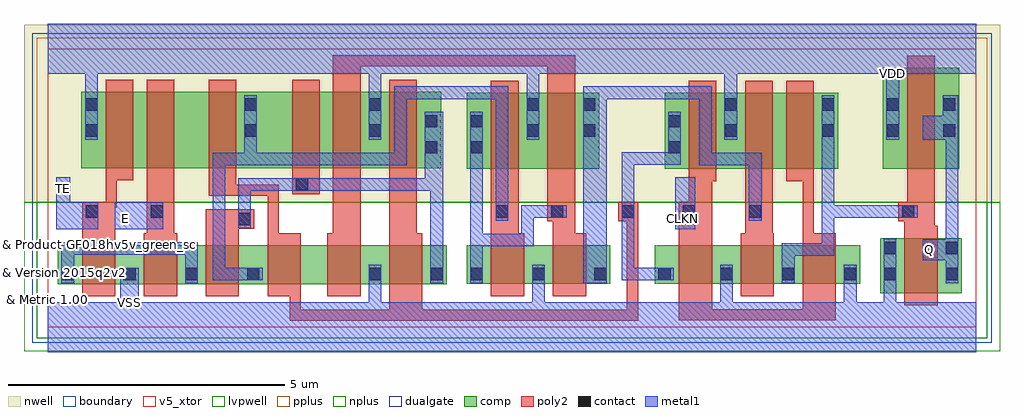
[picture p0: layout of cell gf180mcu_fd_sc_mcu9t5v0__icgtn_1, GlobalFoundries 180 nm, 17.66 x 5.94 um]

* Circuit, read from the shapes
.subckt gf180mcu_fd_sc_mcu9t5v0__icgtn_1 CLKN E Q TE VDD VSS
XM1 VSS TE n1 VSUBS nfet_05v0 w=0.7u l=0.6u
XM2 n1 E VSS VSUBS nfet_05v0 w=0.7u l=0.6u
XM3 n2 n3 n1 VSUBS nfet_05v0 w=0.7u l=0.6u
XM4 n4 n5 n2 VSUBS nfet_05v0 w=0.7u l=0.6u
XM5 VSS n6 n4 VSUBS nfet_05v0 w=0.7u l=0.6u
XM6 n3 n5 VSS VSUBS nfet_05v0 w=0.7u l=0.6u
XM7 VSS n2 n6 VSUBS nfet_05v0 w=0.7u l=0.6u
XM8 n7 n6 VSS VSUBS nfet_05v0 w=0.7u l=0.6u
XM9 VSS CLKN n5 VSUBS nfet_05v0 w=0.7u l=0.6u
XM10 n8 n7 VSS VSUBS nfet_05v0 w=0.7u l=0.6u
XM11 VSS CLKN n8 VSUBS nfet_05v0 w=0.7u l=0.6u
XM12 Q n8 VSS VSUBS nfet_05v0 w=1u l=0.6u
XM13 n9 TE VDD n10 pfet_05v0 w=1.38u l=0.5u
XM14 n11 E n9 n10 pfet_05v0 w=1.38u l=0.5u
XM15 n2 n5 n11 n10 pfet_05v0 w=1.38u l=0.5u
XM16 n12 n3 n2 n10 pfet_05v0 w=1.38u l=0.5u
XM17 VDD n6 n12 n10 pfet_05v0 w=1.38u l=0.5u
XM18 n3 n5 VDD n10 pfet_05v0 w=1.38u l=0.5u
XM19 VDD n2 n6 n10 pfet_05v0 w=1.38u l=0.5u
XM20 n7 n6 VDD n10 pfet_05v0 w=1.38u l=0.5u
XM21 VDD CLKN n5 n10 pfet_05v0 w=1.38u l=0.5u
XM22 n13 n7 VDD n10 pfet_05v0 w=1.38u l=0.5u
XM23 n8 CLKN n13 n10 pfet_05v0 w=1.38u l=0.5u
XM24 Q n8 VDD n10 pfet_05v0 w=1.83u l=0.5u
.ends

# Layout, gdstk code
import gdstk
lib = gdstk.Library(unit=1e-6, precision=1e-09)
def R(c, l, rs):  # rectangles x0, y0, x1, y1
    for r in rs: c.add(gdstk.rectangle(r[:2], r[2:], *l))
def A(c, l, x, y, w, h, nx, ny, dx, dy):  # array of equal rectangles
    R(c, l, [(x+i*dx, y+j*dy, x+i*dx+w, y+j*dy+h) for i in range(nx) for j in range(ny)])
def P(c, l, *ps):  # polygons
    for p in ps: c.add(gdstk.Polygon(p, *l))
boundary = (0, 0)
nwell = (21, 0)
comp = (22, 0)
poly2 = (30, 0)
pplus = (31, 0)
nplus = (32, 0)
contact = (33, 0)
metal1 = (34, 0)
dualgate = (55, 0)
v5_xtor = (112, 1)
lvpwell = (204, 0)

gf180mcu_fd_sc_mcu9t5v0_ = lib.new_cell('gf180mcu_fd_sc_mcu9t5v0__icgtn_1')
R(gf180mcu_fd_sc_mcu9t5v0_, boundary, [(0,0,16.8,5.04)])
R(gf180mcu_fd_sc_mcu9t5v0_, nwell, [(-0.43,2.265,17.23,5.47)])
R(gf180mcu_fd_sc_mcu9t5v0_, comp, [(15.06,0.615,16.54,1.615), (0.18,0.78,7.22,1.48), (7.58,0.785,10.18,1.485), (10.98,0.785,14.7,1.485), (7.58,2.865,9.98,4.245), (11.16,2.865,14.3,4.245), (15.11,2.865,16.49,4.695), (0.61,2.88,7.12,4.26)])
R(gf180mcu_fd_sc_mcu9t5v0_, poly2, [(4.42,2.405,4.92,4.48)])
P(gf180mcu_fd_sc_mcu9t5v0_, poly2, [(0.62,0.56),(0.62,2.275),(1.05,2.275),(1.05,4.48),(1.55,4.48),(1.55,2.66),(1.25,2.66),(1.25,2.165),(1.22,2.165),(1.22,0.56)],
  [(1.74,0.56),(1.74,1.7),(1.79,1.7),(1.79,4.48),(2.29,4.48),(2.29,1.7),(2.34,1.7),(2.34,0.56)],
  [(2.86,0.56),(2.86,2.14),(3.74,2.14),(3.74,1.78),(3.46,1.78),(3.46,0.56)],
  [(8.02,0.565),(8.02,4.465),(8.52,4.465),(8.52,1.705),(8.62,1.705),(8.62,0.565)],
  [(5.06,0.56),(5.06,1.7),(5.16,1.7),(5.16,4.92),(9.54,4.92),(9.54,1.705),(9.74,1.705),(9.74,0.565),(9.14,0.565),(9.14,1.915),(9.04,1.915),(9.04,4.72),(5.66,4.72),(5.66,0.56)],
  [(4.38,0.12),(4.38,0.56),(3.98,0.56),(3.98,2.38),(2.91,2.38),(2.91,4.48),(3.41,4.48),(3.41,2.58),(4.18,2.58),(4.18,1.7),(4.58,1.7),(4.58,0.32),(6.18,0.32),(6.18,4.48),(6.68,4.48),(6.68,1.7),(6.78,1.7),(6.78,0.32),(10.48,0.32),(10.48,1.915),(10.32,1.915),(10.32,2.275),(10.68,2.275),(10.68,0.12)],
  [(12.54,0.565),(12.54,1.705),(12.62,1.705),(12.62,4.465),(13.12,4.465),(13.12,1.705),(13.14,1.705),(13.14,0.565)],
  [(11.42,0.125),(11.42,2.275),(11.6,2.275),(11.6,4.465),(12.1,4.465),(12.1,2.645),(12.02,2.645),(12.02,0.325),(13.66,0.325),(13.66,2.645),(13.36,2.645),(13.36,4.465),(13.86,4.465),(13.86,1.705),(14.26,1.705),(14.26,0.125)],
  [(15.5,0.395),(15.5,1.915),(15.39,1.915),(15.39,2.275),(15.55,2.275),(15.55,4.915),(16.05,4.915),(16.05,1.835),(16.1,1.835),(16.1,0.395)])
R(gf180mcu_fd_sc_mcu9t5v0_, pplus, [(-0.2,2.265,17,5.24)])
R(gf180mcu_fd_sc_mcu9t5v0_, nplus, [(-0.2,-0.2,17,2.265)])
A(gf180mcu_fd_sc_mcu9t5v0_, contact, 0.25, 0.855, 0.22, 0.22, 4, 1, 1.12, 0)
A(gf180mcu_fd_sc_mcu9t5v0_, contact, 7.65, 0.855, 0.22, 0.22, 3, 1, 1.12, 0)
A(gf180mcu_fd_sc_mcu9t5v0_, contact, 11.05, 0.855, 0.22, 0.22, 4, 1, 1.12, 0)
R(gf180mcu_fd_sc_mcu9t5v0_, contact, [(5.81,0.855,6.03,1.075), (6.93,0.855,7.15,1.075), (15.13,0.855,15.35,1.075), (16.25,0.855,16.47,1.075), (15.13,1.325,15.35,1.545), (16.25,1.325,16.47,1.545), (3.45,1.85,3.67,2.07), (0.69,1.985,0.91,2.205), (1.86,1.985,2.08,2.205), (8.11,1.985,8.33,2.205), (9.11,1.985,9.33,2.205), (10.39,1.985,10.61,2.205), (11.49,1.985,11.71,2.205), (12.69,1.985,12.91,2.205), (15.46,1.985,15.68,2.205), (4.49,2.475,4.71,2.695), (6.83,3.15,7.05,3.37), (7.65,3.15,7.87,3.37), (11.23,3.15,11.45,3.37), (0.68,3.45,0.9,3.67), (3.56,3.45,3.78,3.67), (5.81,3.45,6.03,3.67), (8.67,3.45,8.89,3.67), (9.69,3.45,9.91,3.67), (12.25,3.45,12.47,3.67), (14.01,3.45,14.23,3.67), (15.18,3.45,15.4,3.67), (16.2,3.45,16.42,3.67), (6.83,3.62,7.05,3.84), (7.65,3.62,7.87,3.84), (11.23,3.62,11.45,3.84), (0.68,3.92,0.9,4.14), (3.56,3.92,3.78,4.14), (5.81,3.92,6.03,4.14), (8.67,3.92,8.89,4.14), (9.69,3.92,9.91,4.14), (12.25,3.92,12.47,4.14), (14.01,3.92,14.23,4.14), (15.18,3.92,15.4,4.14), (16.2,3.92,16.42,4.14)])
R(gf180mcu_fd_sc_mcu9t5v0_, metal1, [(1.21,1.77,2.09,2.265), (11.35,1.77,11.715,2.71)])
P(gf180mcu_fd_sc_mcu9t5v0_, metal1, [(0.15,1.77),(0.15,2.71),(0.41,2.71),(0.41,2.265),(0.915,2.265),(0.915,1.77)],
  [(0.245,0.795),(0.245,1.54),(2.715,1.54),(2.715,0.795),(2.485,0.795),(2.485,1.31),(0.475,1.31),(0.475,0.795)],
  [(6.925,0.795),(6.925,2.47),(3.675,2.47),(3.675,1.79),(3.445,1.79),(3.445,2.7),(6.825,2.7),(6.825,3.9),(7.155,3.9),(7.155,0.795)],
  [(2.985,0.85),(2.985,3.16),(3.555,3.16),(3.555,4.2),(3.785,4.2),(3.785,3.16),(6.265,3.16),(6.265,4.36),(8.335,4.36),(8.335,1.925),(8.105,1.925),(8.105,4.13),(6.495,4.13),(6.495,2.93),(3.215,2.93),(3.215,1.08),(3.89,1.08),(3.89,0.85)],
  [(7.645,0.795),(7.645,3.9),(7.875,3.9),(7.875,1.695),(8.565,1.695),(8.565,2.21),(9.39,2.21),(9.39,1.98),(8.795,1.98),(8.795,1.465),(7.875,1.465),(7.875,0.795)],
  [(10.385,0.85),(10.385,3.17),(11.225,3.17),(11.225,3.9),(11.455,3.9),(11.455,2.94),(10.615,2.94),(10.615,1.08),(11.33,1.08),(11.33,0.85)],
  [(9.685,0.795),(9.685,4.36),(12.015,4.36),(12.015,3.16),(12.915,3.16),(12.915,1.925),(12.685,1.925),(12.685,2.93),(11.785,2.93),(11.785,4.13),(10.115,4.13),(10.115,0.795)],
  [(13.285,0.795),(13.285,1.52),(14.005,1.52),(14.005,4.2),(14.235,4.2),(14.235,2.21),(15.74,2.21),(15.74,1.98),(14.235,1.98),(14.235,1.29),(13.515,1.29),(13.515,0.795)],
  [(16.245,0.795),(16.245,1.21),(15.83,1.21),(15.83,1.59),(16.245,1.59),(16.245,3.39),(15.83,3.39),(15.83,3.83),(16.195,3.83),(16.195,4.2),(16.475,4.2),(16.475,0.795)],
  [(0,-0.45),(0,0.45),(1.31,0.45),(1.31,1.08),(1.65,1.08),(1.65,0.45),(5.805,0.45),(5.805,1.135),(6.035,1.135),(6.035,0.45),(8.765,0.45),(8.765,1.135),(8.995,1.135),(8.995,0.45),(12.165,0.45),(12.165,1.135),(12.395,1.135),(12.395,0.45),(14.405,0.45),(14.405,1.135),(14.635,1.135),(14.635,0.45),(15.125,0.45),(15.125,1.605),(15.355,1.605),(15.355,0.45),(16.8,0.45),(16.8,-0.45)],
  [(0.675,3.39),(0.675,4.59),(0,4.59),(0,5.49),(16.8,5.49),(16.8,4.59),(15.405,4.59),(15.405,3.39),(15.175,3.39),(15.175,4.59),(12.475,4.59),(12.475,3.39),(12.245,3.39),(12.245,4.59),(8.895,4.59),(8.895,3.39),(8.665,3.39),(8.665,4.59),(6.035,4.59),(6.035,3.39),(5.805,3.39),(5.805,4.59),(0.905,4.59),(0.905,3.39)])
R(gf180mcu_fd_sc_mcu9t5v0_, dualgate, [(-0.28,-0.28,17.08,5.32)])
R(gf180mcu_fd_sc_mcu9t5v0_, v5_xtor, [(0,0,16.8,5.04)])
R(gf180mcu_fd_sc_mcu9t5v0_, lvpwell, [(-0.43,-0.43,17.23,2.265)])
gf180mcu_fd_sc_mcu9t5v0_.add(gdstk.Label('CLKN', (11.48,1.96), layer=34, texttype=10))
gf180mcu_fd_sc_mcu9t5v0_.add(gdstk.Label('E', (1.4,1.96), layer=34, texttype=10))
gf180mcu_fd_sc_mcu9t5v0_.add(gdstk.Label('Q', (15.96,1.4), layer=34, texttype=10))
gf180mcu_fd_sc_mcu9t5v0_.add(gdstk.Label('TE', (0.28,2.52), layer=34, texttype=10))
gf180mcu_fd_sc_mcu9t5v0_.add(gdstk.Label('VDD', (15.29,4.59), layer=34, texttype=10))
gf180mcu_fd_sc_mcu9t5v0_.add(gdstk.Label('VSS', (1.48,0.45), layer=34, texttype=10))
gf180mcu_fd_sc_mcu9t5v0_.add(gdstk.Label('& Vendor GLOBALFOUNDRIES', (0,2), layer=63, texttype=63))
gf180mcu_fd_sc_mcu9t5v0_.add(gdstk.Label('& Product GF018hv5v_green_sc9', (0,1.5), layer=63, texttype=63))
gf180mcu_fd_sc_mcu9t5v0_.add(gdstk.Label('& Version 2015q2v2', (0,1), layer=63, texttype=63))
gf180mcu_fd_sc_mcu9t5v0_.add(gdstk.Label('& Metric 1.00', (0,0.5), layer=63, texttype=63))

lib.write_gds('gf180mcu_fd_sc_mcu9t5v0__icgtn_1.gds')
